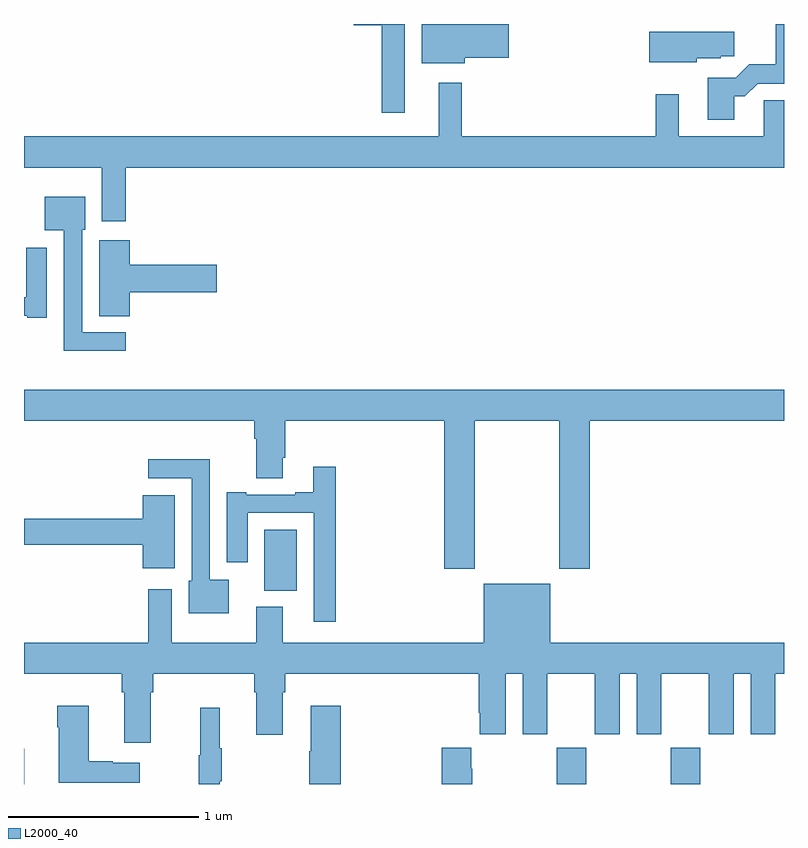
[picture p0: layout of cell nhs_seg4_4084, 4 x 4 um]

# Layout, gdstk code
import gdstk
lib = gdstk.Library(unit=1e-6, precision=1e-09)
def R(c, l, rs):  # rectangles x0, y0, x1, y1
    for r in rs: c.add(gdstk.rectangle(r[:2], r[2:], *l))
def P(c, l, *ps):  # polygons
    for p in ps: c.add(gdstk.Polygon(p, *l))
L2000_40 = (2000, 40)

nhs_seg4_4084 = lib.new_cell('nhs_seg4_4084')
R(nhs_seg4_4084, L2000_40, [(327,802.9,327.002,803.086), (329.803,802.9,329.958,803.092), (330.403,802.9,330.558,803.092), (328.265,803.918,328.435,804.238)])
P(nhs_seg4_4084, L2000_40, [(330.739,806.519),(330.794,806.519),(330.861,806.586),(331,806.586),(331,806.9),(330.956,806.9),(330.956,806.687),(330.818,806.687),(330.747,806.616),(330.599,806.616),(330.599,806.397),(330.739,806.397)],
  [(329.32,806.722),(329.551,806.722),(329.551,806.9),(329.093,806.9),(329.093,806.693),(329.32,806.693)],
  [(329.005,806.9),(328.736,806.9),(328.736,806.894),(328.884,806.894),(328.884,806.433),(329.005,806.433)],
  [(330.54,806.72),(330.666,806.72),(330.666,806.731),(330.739,806.731),(330.739,806.86),(330.29,806.86),(330.29,806.699),(330.54,806.699)],
  [(327.536,806.144),(331,806.144),(331,806.498),(330.894,806.498),(330.894,806.308),(330.445,806.308),(330.445,806.53),(330.324,806.53),(330.324,806.308),(329.305,806.308),(329.305,806.59),(329.183,806.59),(329.183,806.308),(327,806.308),(327,806.144),(327.41,806.144),(327.41,805.863),(327.536,805.863)],
  [(327.535,805.278),(327.306,805.278),(327.306,805.818),(327.322,805.818),(327.322,805.99),(327.11,805.99),(327.11,805.814),(327.21,805.814),(327.21,805.181),(327.535,805.181)],
  [(327.557,805.487),(328.015,805.487),(328.015,805.634),(327.557,805.634),(327.557,805.762),(327.395,805.762),(327.395,805.363),(327.557,805.363)],
  [(327.121,805.723),(327.011,805.723),(327.011,805.461),(327,805.461),(327,805.365),(327.017,805.365),(327.017,805.353),(327.121,805.353)],
  [(327,804.812),(328.211,804.812),(328.211,804.716),(328.223,804.716),(328.223,804.508),(328.363,804.508),(328.363,804.616),(328.376,804.616),(328.376,804.812),(329.213,804.812),(329.213,804.033),(329.373,804.033),(329.373,804.812),(329.818,804.812),(329.818,804.033),(329.978,804.033),(329.978,804.812),(331,804.812),(331,804.976),(327,804.976)],
  [(328.078,803.974),(327.978,803.974),(327.978,804.608),(327.654,804.608),(327.654,804.51),(327.882,804.51),(327.882,803.97),(327.866,803.97),(327.866,803.798),(328.078,803.798)],
  [(328.64,804.571),(328.523,804.571),(328.523,804.436),(328.427,804.436),(328.427,804.423),(328.171,804.423),(328.171,804.436),(328.067,804.436),(328.067,804.066),(328.177,804.066),(328.177,804.327),(328.524,804.327),(328.524,803.754),(328.64,803.754)],
  [(327.793,804.421),(327.626,804.421),(327.626,804.296),(327,804.296),(327,804.16),(327.626,804.16),(327.626,804.035),(327.793,804.035)],
  [(327.667,803.384),(327.68,803.384),(327.68,803.48),(328.211,803.48),(328.211,803.384),(328.223,803.384),(328.223,803.16),(328.363,803.16),(328.363,803.384),(328.376,803.384),(328.376,803.48),(329.393,803.48),(329.393,803.275),(329.399,803.275),(329.399,803.163),(329.536,803.163),(329.536,803.48),(329.624,803.48),(329.624,803.163),(329.755,803.163),(329.755,803.48),(330.005,803.48),(330.005,803.163),(330.136,803.163),(330.136,803.48),(330.224,803.48),(330.224,803.163),(330.355,803.163),(330.355,803.48),(330.605,803.48),(330.605,803.163),(330.736,803.163),(330.736,803.48),(330.824,803.48),(330.824,803.163),(330.955,803.163),(330.955,803.48),(331,803.48),(331,803.644),(329.77,803.644),(329.77,803.953),(329.42,803.953),(329.42,803.644),(328.363,803.644),(328.363,803.833),(328.223,803.833),(328.223,803.644),(327.778,803.644),(327.778,803.926),(327.653,803.926),(327.653,803.644),(327,803.644),(327,803.48),(327.515,803.48),(327.515,803.384),(327.527,803.384),(327.527,803.118),(327.667,803.118)],
  [(328.667,803.311),(328.508,803.311),(328.508,803.072),(328.501,803.072),(328.501,802.9),(328.667,802.9)],
  [(327.61,803.011),(327.467,803.011),(327.467,803.021),(327.34,803.021),(327.34,803.311),(327.175,803.311),(327.175,803.198),(327.182,803.198),(327.182,802.907),(327.61,802.907)],
  [(328.031,802.915),(328.042,802.915),(328.042,803.089),(328.031,803.089),(328.031,803.302),(327.928,803.302),(327.928,803.052),(327.921,803.052),(327.921,802.9),(328.031,802.9)],
  [(329.358,802.979),(329.353,802.979),(329.353,803.092),(329.198,803.092),(329.198,802.9),(329.358,802.9)])

lib.write_gds('nhs_seg4_4084.gds')
